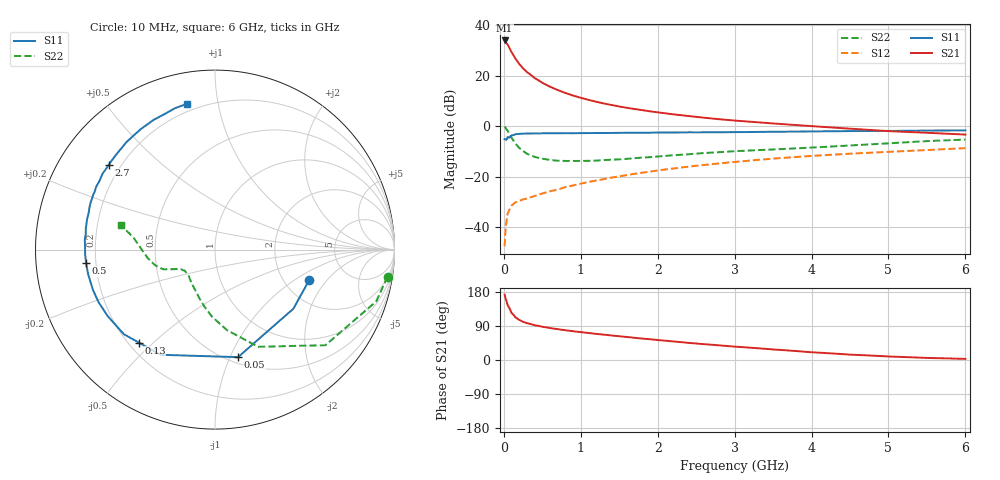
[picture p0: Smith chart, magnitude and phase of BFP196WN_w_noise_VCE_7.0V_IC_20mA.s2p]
! Infineon Technologies  Discrete & RF Semiconductors
! BFP196WN
! VCE =  7.0 V,  IC =  20 mA
! Common Emitter S-Parameters:  Jan 2017
# GHz  S  MA  R  50
!  f  S11  S21  S12  S22
! GHz  MAG  ANG  MAG  ANG  MAG  ANG  MAG  ANG
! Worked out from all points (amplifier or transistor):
!   77 points, 10 MHz to 6 GHz, reference 50 ohm
!   highest |S21| = 34.0 dB at 10 MHz (marker M1)
!   |S21| within 3 dB of that: start of sweep to 72.52 MHz
!   unconditionally stable (mu >= 1): 903.1 MHz to 2.662 GHz
!   at 130 MHz: K = 0.31, MSG = 29.3 dB, |S12| = -30.7 dB
!   at 2.2 GHz: K = 1.03, MAG = 9.7 dB, |S12| = -16.8 dB
!   at 6 GHz: K = 0.87, MSG = 2.7 dB, |S12| = -8.7 dB
!   lowest NFmin = 0.96 dB at 450 MHz
!   S11 on the Smith chart (normalised r, x): 10 MHz: 2.75, -1.33; 50 MHz: 0.56, -1.07; 130 MHz: 0.24, -0.45; 500 MHz: 0.16, -0.05; 2.7 GHz: 0.15, +0.34; 6 GHz: 0.16, +0.81
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0.01  0.5519 -17.7  49.94 172.7  0.0042 82.2  0.9733 -8.9
0.02  0.547 -37.0  47.62 164.1  0.0081 76.8  0.9437 -17.8
0.05  0.6129 -77.9  41.3 144.4  0.0187 59.9  0.8137 -40.9
0.1  0.6595 -117.3  29.28 124.0  0.0266 47.9  0.5927 -66.0
0.13  0.6699 -129.4  24.72 118.1  0.0292 44.1  0.5043 -74.3
0.15  0.6928 -137.1  21.88 112.8  0.031 41.9  0.4532 -81.6
0.2  0.7037 -148.3  17.1 105.8  0.033 40.3  0.3725 -92.8
0.25  0.7117 -155.8  13.99 100.9  0.0355 40.1  0.3223 -100.6
0.3  0.716 -161.5  11.83 97.2  0.0371 41.1  0.2852 -107.6
0.4  0.7199 -168.9  9.008 91.8  0.0414 44.9  0.247 -117.4
0.5  0.7223 -174.1  7.244 87.8  0.0464 48.2  0.2269 -125.3
0.6  0.724 -178.1  6.062 84.3  0.0513 51.0  0.2147 -131.0
0.7  0.7241 178.8  5.197 81.4  0.0557 53.7  0.2068 -135.0
0.9  0.7253 173.1  4.046 75.9  0.0671 57.0  0.205 -140.9
1.1  0.7304 168.7  3.323 71.3  0.0784 59.1  0.2061 -145.1
1.5  0.7386 161.0  2.456 62.7  0.1015 61.2  0.2204 -150.2
2.1  0.7487 150.7  1.8 50.9  0.1389 61.1  0.2582 -155.0
2.7  0.7573 141.3  1.424 40.3  0.1767 58.8  0.2997 -158.5
3.1  0.7646 135.2  1.26 34.0  0.2019 56.4  0.3249 -162.1
4.1  0.79 120.3  0.98 19.3  0.263 49.4  0.3841 -174.6
5.1  0.8088 109.1  0.786 8.6  0.3155 42.1  0.467 170.9
6  0.8275 100.9  0.682 3.0  0.3676 35.9  0.543 165.4
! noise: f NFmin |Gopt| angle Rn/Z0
0.45  0.96  0.4  169  0.05
0.9  1.1  0.5  179  0.05
1.9  2.1  0.69  210  0.12
2.4  2.86  0.7  216  0.23
